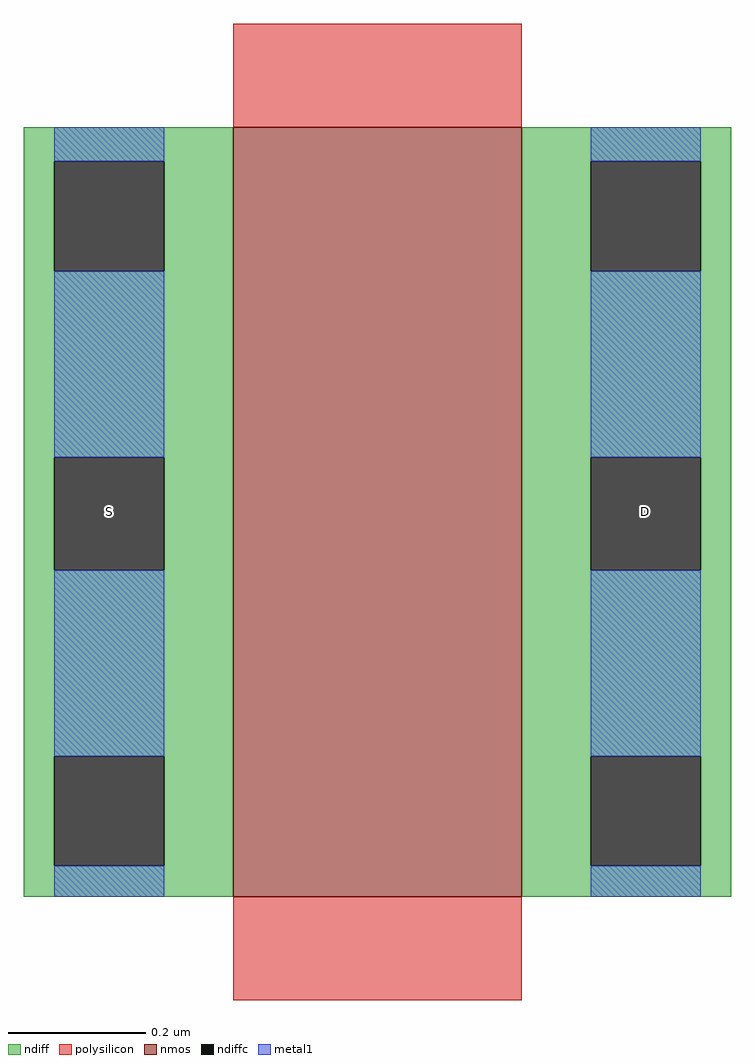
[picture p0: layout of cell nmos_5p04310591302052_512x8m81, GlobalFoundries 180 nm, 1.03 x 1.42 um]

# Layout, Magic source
magic
tech gf180mcuD
magscale 1 10
<< nmos >>
rect 0 0 84 224
<< ndiff >>
rect -61 214 0 224
rect -61 182 -52 214
rect -20 182 0 214
rect -61 128 0 182
rect -61 95 -52 128
rect -20 95 0 128
rect -61 41 0 95
rect -61 9 -52 41
rect -20 9 0 41
rect -61 0 0 9
rect 84 214 145 224
rect 84 182 104 214
rect 136 182 145 214
rect 84 128 145 182
rect 84 95 104 128
rect 136 95 145 128
rect 84 41 145 95
rect 84 9 104 41
rect 136 9 145 41
rect 84 0 145 9
<< ndiffc >>
rect -52 182 -20 214
rect -52 95 -20 128
rect -52 9 -20 41
rect 104 182 136 214
rect 104 95 136 128
rect 104 9 136 41
<< polysilicon >>
rect 0 224 84 254
rect 0 -30 84 0
<< metal1 >>
rect -52 214 -20 224
rect -52 128 -20 182
rect -52 41 -20 95
rect -52 0 -20 9
rect 104 214 136 224
rect 104 128 136 182
rect 104 41 136 95
rect 104 0 136 9
<< labels >>
flabel ndiffc -36 112 -36 112 0 FreeSans 140 0 0 0 S
flabel ndiffc 120 112 120 112 0 FreeSans 140 0 0 0 D
<< end >>
